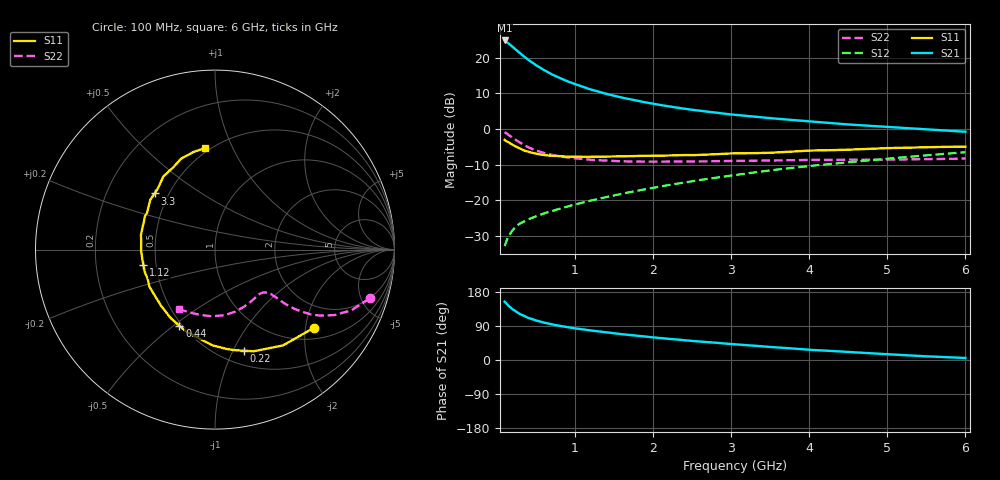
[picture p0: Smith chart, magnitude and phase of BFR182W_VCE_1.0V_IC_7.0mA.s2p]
! Infineon Technologies  Discrete & RF Semiconductors
! BFR182W
! VCE =  1.0 V,  IC =  7.0 mA
! Common Emitter S-Parameters:  Nov 2015
# GHz  S  MA  R  50
!  f  S11  S21  S12  S22
! GHz  MAG  ANG  MAG  ANG  MAG  ANG  MAG  ANG
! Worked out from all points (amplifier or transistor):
!   192 points, 100 MHz to 6 GHz, reference 50 ohm
!   highest |S21| = 24.8 dB at 100 MHz (marker M1)
!   |S21| within 3 dB of that: start of sweep to 266.6 MHz
!   unconditionally stable (mu >= 1): 1.076 GHz to 3.029 GHz
!   at 440 MHz: K = 0.63, MSG = 21.9 dB, |S12| = -25.0 dB
!   at 1.7 GHz: K = 1.09, MAG = 11.3 dB, |S12| = -17.7 dB
!   at 6 GHz: K = 0.83, MSG = 2.9 dB, |S12| = -6.5 dB
!   S11 on the Smith chart (normalised r, x): 100 MHz: 1.30, -2.23; 220 MHz: 0.64, -1.11; 440 MHz: 0.48, -0.52; 1.12 GHz: 0.42, -0.09; 3.3 GHz: 0.42, +0.33; 6 GHz: 0.47, +0.79
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0.1  0.7027 -38.3  17.47 153.9  0.0228 71.8  0.9039 -17.5
0.15  0.6545 -54.7  15.9 143.1  0.0314 65.9  0.8329 -23.9
0.2  0.6064 -69.1  14.32 134.1  0.0379 61.1  0.7614 -28.6
0.22  0.5864 -73.9  13.69 131.4  0.0401 59.7  0.7345 -29.9
0.26  0.557 -83.5  12.54 125.7  0.0443 57.3  0.6842 -32.4
0.3  0.5327 -91.8  11.49 120.8  0.0476 55.7  0.6418 -34.2
0.4  0.483 -110.0  9.409 111.3  0.054 53.8  0.5574 -36.6
0.44  0.4684 -115.1  8.787 108.8  0.0563 53.7  0.5349 -37.0
0.52  0.4486 -125.3  7.66 103.4  0.0609 53.7  0.4934 -37.7
0.6  0.4332 -134.2  6.762 98.8  0.0656 54.0  0.462 -38.0
0.7  0.422 -142.8  5.887 94.1  0.0706 55.2  0.4351 -38.0
0.9  0.4089 -156.8  4.686 86.7  0.0817 57.5  0.3998 -38.4
1.1  0.4083 -167.0  3.926 80.9  0.0932 59.4  0.3796 -39.4
1.12  0.4081 -167.9  3.859 80.4  0.0943 59.5  0.3778 -39.5
1.5  0.4121 178.0  2.932 70.4  0.1171 61.9  0.3569 -42.5
2.08  0.4232 161.1  2.188 58.3  0.1555 63.8  0.3489 -49.0
2.5  0.4301 151.8  1.862 50.3  0.1852 63.9  0.3514 -54.7
3.1  0.4561 140.7  1.564 40.6  0.2304 62.6  0.3577 -64.9
3.3  0.4596 137.1  1.49 37.7  0.2468 61.9  0.3599 -68.6
4.1  0.5011 123.5  1.257 26.0  0.3107 58.0  0.3689 -83.8
5.1  0.543 108.8  1.056 14.0  0.3924 51.8  0.373 -104.6
6  0.5681 95.7  0.917 5.3  0.4737 45.3  0.3865 -120.8
